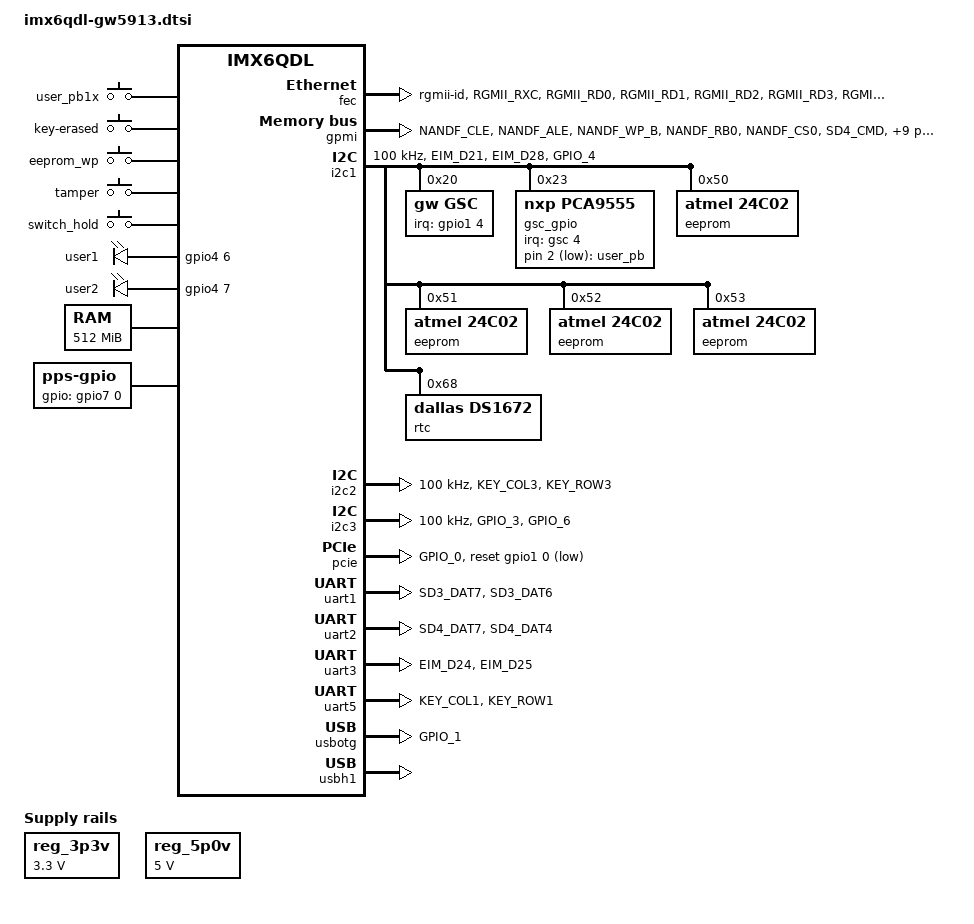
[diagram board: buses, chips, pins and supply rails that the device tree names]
// SPDX-License-Identifier: GPL-2.0
/*
 * Copyright 2019 Gateworks Corporation
 */

#include <dt-bindings/gpio/gpio.h>
#include <dt-bindings/input/linux-event-codes.h>
#include <dt-bindings/interrupt-controller/irq.h>

/ {
	/* these are used by bootloader for disabling nodes */
	aliases {
		led0 = &led0;
		led1 = &led1;
		nand = &gpmi;
		usb0 = &usbh1;
		usb1 = &usbotg;
	};

	chosen {
		stdout-path = &uart2;
	};

	gpio-keys {
		compatible = "gpio-keys";

		user-pb {
			label = "user_pb";
			gpios = <&gsc_gpio 2 GPIO_ACTIVE_LOW>;
			linux,code = <BTN_0>;
		};

		user-pb1x {
			label = "user_pb1x";
			linux,code = <BTN_1>;
			interrupt-parent = <&gsc>;
			interrupts = <0>;
		};

		key-erased {
			label = "key-erased";
			linux,code = <BTN_2>;
			interrupt-parent = <&gsc>;
			interrupts = <1>;
		};

		eeprom-wp {
			label = "eeprom_wp";
			linux,code = <BTN_3>;
			interrupt-parent = <&gsc>;
			interrupts = <2>;
		};

		tamper {
			label = "tamper";
			linux,code = <BTN_4>;
			interrupt-parent = <&gsc>;
			interrupts = <5>;
		};

		switch-hold {
			label = "switch_hold";
			linux,code = <BTN_5>;
			interrupt-parent = <&gsc>;
			interrupts = <7>;
		};
	};

	leds {
		compatible = "gpio-leds";
		pinctrl-names = "default";
		pinctrl-0 = <&pinctrl_gpio_leds>;

		led0: user1 {
			label = "user1";
			gpios = <&gpio4 6 GPIO_ACTIVE_HIGH>; /* MX6_PANLEDG */
			default-state = "on";
			linux,default-trigger = "heartbeat";
		};

		led1: user2 {
			label = "user2";
			gpios = <&gpio4 7 GPIO_ACTIVE_HIGH>; /* MX6_PANLEDR */
			default-state = "off";
		};
	};

	memory@10000000 {
		device_type = "memory";
		reg = <0x10000000 0x20000000>;
	};

	pps {
		compatible = "pps-gpio";
		pinctrl-names = "default";
		pinctrl-0 = <&pinctrl_pps>;
		gpios = <&gpio7 0 GPIO_ACTIVE_HIGH>;
		status = "okay";
	};

	reg_3p3v: regulator-3p3v {
		compatible = "regulator-fixed";
		regulator-name = "3P3V";
		regulator-min-microvolt = <3300000>;
		regulator-max-microvolt = <3300000>;
		regulator-always-on;
	};

	reg_5p0v: regulator-5p0v {
		compatible = "regulator-fixed";
		regulator-name = "5P0V";
		regulator-min-microvolt = <5000000>;
		regulator-max-microvolt = <5000000>;
		regulator-always-on;
	};
};

&fec {
	pinctrl-names = "default";
	pinctrl-0 = <&pinctrl_enet>;
	phy-mode = "rgmii-id";
	status = "okay";
};

&gpmi {
	pinctrl-names = "default";
	pinctrl-0 = <&pinctrl_gpmi_nand>;
	status = "okay";
};

&i2c1 {
	clock-frequency = <100000>;
	pinctrl-names = "default";
	pinctrl-0 = <&pinctrl_i2c1>;
	status = "okay";

	gsc: gsc@20 {
		compatible = "gw,gsc";
		reg = <0x20>;
		interrupt-parent = <&gpio1>;
		interrupts = <4 IRQ_TYPE_LEVEL_LOW>;
		interrupt-controller;
		#interrupt-cells = <1>;
		#size-cells = <0>;

		adc {
			compatible = "gw,gsc-adc";
			#address-cells = <1>;
			#size-cells = <0>;

			channel@6 {
				gw,mode = <0>;
				reg = <0x06>;
				label = "temp";
			};

			channel@8 {
				gw,mode = <3>;
				reg = <0x08>;
				label = "vdd_bat";
			};

			channel@82 {
				gw,mode = <2>;
				reg = <0x82>;
				label = "vdd_vin";
				gw,voltage-divider-ohms = <22100 1000>;
				gw,voltage-offset-microvolt = <800000>;
			};

			channel@84 {
				gw,mode = <2>;
				reg = <0x84>;
				label = "vdd_5p0";
				gw,voltage-divider-ohms = <22100 10000>;
			};

			channel@86 {
				gw,mode = <2>;
				reg = <0x86>;
				label = "vdd_3p3";
				gw,voltage-divider-ohms = <10000 10000>;
			};

			channel@88 {
				gw,mode = <2>;
				reg = <0x88>;
				label = "vdd_2p5";
				gw,voltage-divider-ohms = <10000 10000>;
			};

			channel@8c {
				gw,mode = <2>;
				reg = <0x8c>;
				label = "vdd_arm";
			};

			channel@8e {
				gw,mode = <2>;
				reg = <0x8e>;
				label = "vdd_soc";
			};

			channel@90 {
				gw,mode = <2>;
				reg = <0x90>;
				label = "vdd_1p5";
			};

			channel@92 {
				gw,mode = <2>;
				reg = <0x92>;
				label = "vdd_1p0";
			};

			channel@98 {
				gw,mode = <2>;
				reg = <0x98>;
				label = "vdd_3p0";
			};

			channel@9a {
				gw,mode = <2>;
				reg = <0x9a>;
				label = "vdd_an1";
				gw,voltage-divider-ohms = <10000 10000>;
			};

			channel@a2 {
				gw,mode = <2>;
				reg = <0xa2>;
				label = "vdd_gsc";
				gw,voltage-divider-ohms = <10000 10000>;
			};
		};
	};

	gsc_gpio: gpio@23 {
		compatible = "nxp,pca9555";
		reg = <0x23>;
		gpio-controller;
		#gpio-cells = <2>;
		interrupt-parent = <&gsc>;
		interrupts = <4>;
	};

	eeprom@50 {
		compatible = "atmel,24c02";
		reg = <0x50>;
		pagesize = <16>;
	};

	eeprom@51 {
		compatible = "atmel,24c02";
		reg = <0x51>;
		pagesize = <16>;
	};

	eeprom@52 {
		compatible = "atmel,24c02";
		reg = <0x52>;
		pagesize = <16>;
	};

	eeprom@53 {
		compatible = "atmel,24c02";
		reg = <0x53>;
		pagesize = <16>;
	};

	rtc@68 {
		compatible = "dallas,ds1672";
		reg = <0x68>;
	};
};

&i2c2 {
	clock-frequency = <100000>;
	pinctrl-names = "default";
	pinctrl-0 = <&pinctrl_i2c2>;
	status = "okay";
};

&i2c3 {
	clock-frequency = <100000>;
	pinctrl-names = "default";
	pinctrl-0 = <&pinctrl_i2c3>;
	status = "okay";
};

&pcie {
	pinctrl-names = "default";
	pinctrl-0 = <&pinctrl_pcie>;
	reset-gpio = <&gpio1 0 GPIO_ACTIVE_LOW>;
	status = "okay";
};

&pwm2 {
	pinctrl-names = "default";
	pinctrl-0 = <&pinctrl_pwm2>; /* MX6_DIO1 */
	status = "disabled";
};

&pwm3 {
	pinctrl-names = "default";
	pinctrl-0 = <&pinctrl_pwm3>; /* MX6_DIO2 */
	status = "disabled";
};

&pwm4 {
	pinctrl-names = "default";
	pinctrl-0 = <&pinctrl_pwm4>; /* MX6_DIO3 */
	status = "disabled";
};

&uart1 {
	pinctrl-names = "default";
	pinctrl-0 = <&pinctrl_uart1>;
	status = "okay";
};

&uart2 {
	pinctrl-names = "default";
	pinctrl-0 = <&pinctrl_uart2>;
	status = "okay";
};

&uart3 {
	pinctrl-names = "default";
	pinctrl-0 = <&pinctrl_uart3>;
	status = "okay";
};

&uart5 {
	pinctrl-names = "default";
	pinctrl-0 = <&pinctrl_uart5>;
	status = "okay";
};

&usbotg {
	pinctrl-names = "default";
	pinctrl-0 = <&pinctrl_usbotg>;
	disable-over-current;
	status = "okay";
};

&usbh1 {
	status = "okay";
};

&wdog1 {
	pinctrl-names = "default";
	pinctrl-0 = <&pinctrl_wdog>;
	fsl,ext-reset-output;
};

&iomuxc {
	pinctrl_enet: enetgrp {
		fsl,pins = <
			MX6QDL_PAD_RGMII_RXC__RGMII_RXC		0x1b030
			MX6QDL_PAD_RGMII_RD0__RGMII_RD0		0x1b030
			MX6QDL_PAD_RGMII_RD1__RGMII_RD1		0x1b030
			MX6QDL_PAD_RGMII_RD2__RGMII_RD2		0x1b030
			MX6QDL_PAD_RGMII_RD3__RGMII_RD3		0x1b030
			MX6QDL_PAD_RGMII_RX_CTL__RGMII_RX_CTL	0x1b030
			MX6QDL_PAD_RGMII_TXC__RGMII_TXC		0x1b030
			MX6QDL_PAD_RGMII_TD0__RGMII_TD0		0x1b030
			MX6QDL_PAD_RGMII_TD1__RGMII_TD1		0x1b030
			MX6QDL_PAD_RGMII_TD2__RGMII_TD2		0x1b030
			MX6QDL_PAD_RGMII_TD3__RGMII_TD3		0x1b030
			MX6QDL_PAD_RGMII_TX_CTL__RGMII_TX_CTL	0x1b030
			MX6QDL_PAD_ENET_REF_CLK__ENET_TX_CLK	0x1b0b0
			MX6QDL_PAD_ENET_MDIO__ENET_MDIO		0x1b0b0
			MX6QDL_PAD_ENET_MDC__ENET_MDC		0x1b0b0
			MX6QDL_PAD_GPIO_16__ENET_REF_CLK	0x4001b0a8
			MX6QDL_PAD_ENET_TXD0__GPIO1_IO30	0x1b0b0
		>;
	};

	pinctrl_gpio_leds: gpioledsgrp {
		fsl,pins = <
			MX6QDL_PAD_KEY_COL0__GPIO4_IO06		0x1b0b0
			MX6QDL_PAD_KEY_ROW0__GPIO4_IO07		0x1b0b0
		>;
	};

	pinctrl_gpmi_nand: gpminandgrp {
		fsl,pins = <
			MX6QDL_PAD_NANDF_CLE__NAND_CLE		0xb0b1
			MX6QDL_PAD_NANDF_ALE__NAND_ALE		0xb0b1
			MX6QDL_PAD_NANDF_WP_B__NAND_WP_B	0xb0b1
			MX6QDL_PAD_NANDF_RB0__NAND_READY_B	0xb000
			MX6QDL_PAD_NANDF_CS0__NAND_CE0_B	0xb0b1
			MX6QDL_PAD_SD4_CMD__NAND_RE_B		0xb0b1
			MX6QDL_PAD_SD4_CLK__NAND_WE_B		0xb0b1
			MX6QDL_PAD_NANDF_D0__NAND_DATA00	0xb0b1
			MX6QDL_PAD_NANDF_D1__NAND_DATA01	0xb0b1
			MX6QDL_PAD_NANDF_D2__NAND_DATA02	0xb0b1
			MX6QDL_PAD_NANDF_D3__NAND_DATA03	0xb0b1
			MX6QDL_PAD_NANDF_D4__NAND_DATA04	0xb0b1
			MX6QDL_PAD_NANDF_D5__NAND_DATA05	0xb0b1
			MX6QDL_PAD_NANDF_D6__NAND_DATA06	0xb0b1
			MX6QDL_PAD_NANDF_D7__NAND_DATA07	0xb0b1
		>;
	};

	pinctrl_i2c1: i2c1grp {
		fsl,pins = <
			MX6QDL_PAD_EIM_D21__I2C1_SCL		0x4001b8b1
			MX6QDL_PAD_EIM_D28__I2C1_SDA		0x4001b8b1
			MX6QDL_PAD_GPIO_4__GPIO1_IO04		0x0001b0b0
		>;
	};

	pinctrl_i2c2: i2c2grp {
		fsl,pins = <
			MX6QDL_PAD_KEY_COL3__I2C2_SCL		0x4001b8b1
			MX6QDL_PAD_KEY_ROW3__I2C2_SDA		0x4001b8b1
		>;
	};

	pinctrl_i2c3: i2c3grp {
		fsl,pins = <
			MX6QDL_PAD_GPIO_3__I2C3_SCL		0x4001b8b1
			MX6QDL_PAD_GPIO_6__I2C3_SDA		0x4001b8b1
		>;
	};

	pinctrl_pcie: pciegrp {
		fsl,pins = <
			MX6QDL_PAD_GPIO_0__GPIO1_IO00		0x1b0b0
		>;
	};

	pinctrl_pps: ppsgrp {
		fsl,pins = <
			MX6QDL_PAD_SD3_DAT5__GPIO7_IO00		0x1b0b1
		>;
	};

	pinctrl_pwm2: pwm2grp {
		fsl,pins = <
			MX6QDL_PAD_SD1_DAT2__PWM2_OUT		0x1b0b1
		>;
	};

	pinctrl_pwm3: pwm3grp {
		fsl,pins = <
			MX6QDL_PAD_SD1_DAT1__PWM3_OUT		0x1b0b1
		>;
	};

	pinctrl_pwm4: pwm4grp {
		fsl,pins = <
			MX6QDL_PAD_SD1_CMD__PWM4_OUT		0x1b0b1
		>;
	};

	pinctrl_uart1: uart1grp {
		fsl,pins = <
			MX6QDL_PAD_SD3_DAT7__UART1_TX_DATA	0x1b0b1
			MX6QDL_PAD_SD3_DAT6__UART1_RX_DATA	0x1b0b1
		>;
	};

	pinctrl_uart2: uart2grp {
		fsl,pins = <
			MX6QDL_PAD_SD4_DAT7__UART2_TX_DATA	0x1b0b1
			MX6QDL_PAD_SD4_DAT4__UART2_RX_DATA	0x1b0b1
		>;
	};

	pinctrl_uart3: uart3grp {
		fsl,pins = <
			MX6QDL_PAD_EIM_D24__UART3_TX_DATA	0x1b0b1
			MX6QDL_PAD_EIM_D25__UART3_RX_DATA	0x1b0b1
		>;
	};

	pinctrl_uart5: uart5grp {
		fsl,pins = <
			MX6QDL_PAD_KEY_COL1__UART5_TX_DATA	0x1b0b1
			MX6QDL_PAD_KEY_ROW1__UART5_RX_DATA	0x1b0b1
		>;
	};

	pinctrl_usbotg: usbotggrp {
		fsl,pins = <
			MX6QDL_PAD_GPIO_1__USB_OTG_ID		0x17059
		>;
	};

	pinctrl_wdog: wdoggrp {
		fsl,pins = <
			MX6QDL_PAD_DISP0_DAT8__WDOG1_B		0x1b0b0
		>;
	};
};
